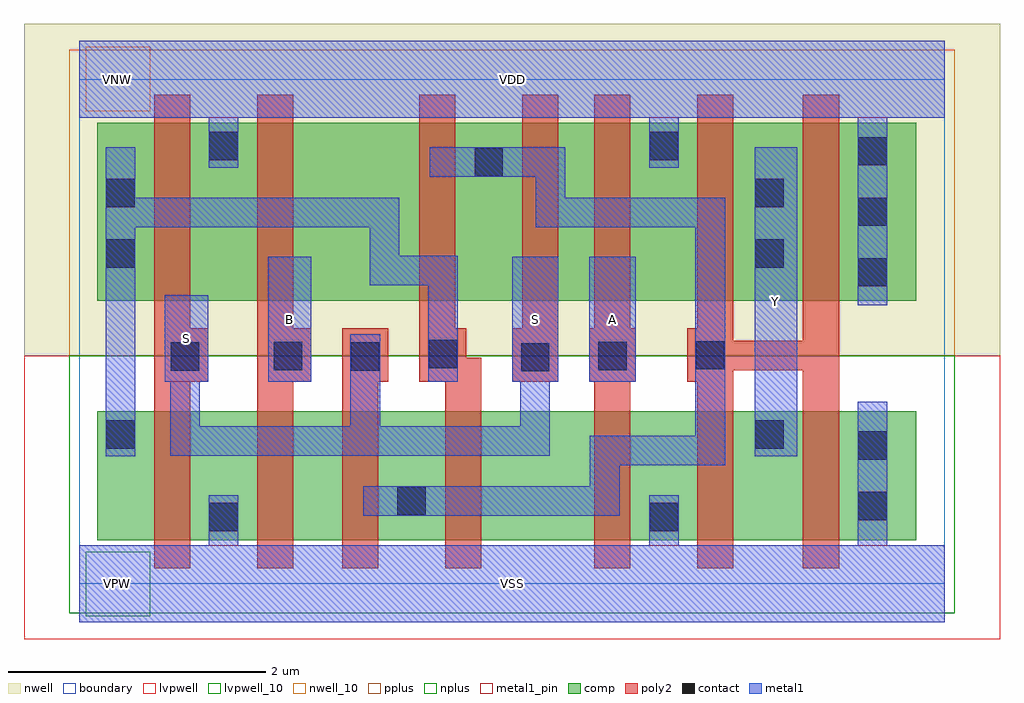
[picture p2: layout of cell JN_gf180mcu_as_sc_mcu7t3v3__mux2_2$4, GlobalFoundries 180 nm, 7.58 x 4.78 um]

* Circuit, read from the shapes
.subckt JN_gf180mcu_as_sc_mcu7t3v3__mux2_2$4 A B S VDD VNW VSS Y
XM1 VSS S n1 VSUBS nfet_03v3 w=1u l=0.28u
XM2 n2 B VSS VSUBS nfet_03v3 w=1u l=0.28u
XM3 n3 S n2 VSUBS nfet_03v3 w=1u l=0.28u
XM4 n4 n1 n3 VSUBS nfet_03v3 w=1u l=0.28u
XM5 VSS A n4 VSUBS nfet_03v3 w=1u l=0.28u
XM6 Y n3 VSS VSUBS nfet_03v3 w=1u l=0.28u m=2
XM7 VDD S n1 VNW pfet_03v3 w=1.38u l=0.28u
XM8 n5 B VDD VNW pfet_03v3 w=1.38u l=0.28u
XM9 n3 n1 n5 VNW pfet_03v3 w=1.38u l=0.28u
XM10 n6 S n3 VNW pfet_03v3 w=1.38u l=0.28u
XM11 VDD A n6 VNW pfet_03v3 w=1.38u l=0.28u
XM12 Y n3 VDD VNW pfet_03v3 w=1.38u l=0.28u m=2
.ends

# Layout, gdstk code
import gdstk
lib = gdstk.Library(unit=1e-6, precision=1e-09)
def R(c, l, rs):  # rectangles x0, y0, x1, y1
    for r in rs: c.add(gdstk.rectangle(r[:2], r[2:], *l))
def A(c, l, x, y, w, h, nx, ny, dx, dy):  # array of equal rectangles
    R(c, l, [(x+i*dx, y+j*dy, x+i*dx+w, y+j*dy+h) for i in range(nx) for j in range(ny)])
boundary = (0, 0)
nwell = (21, 0)
nwell_10 = (21, 10)
comp = (22, 0)
poly2 = (30, 0)
pplus = (31, 0)
nplus = (32, 0)
contact = (33, 0)
metal1 = (34, 0)
metal1_pin = (34, 10)
lvpwell = (204, 0)
lvpwell_10 = (204, 10)

jn_gf180mcu_as_sc_mcu7t3 = lib.new_cell('JN_gf180mcu_as_sc_mcu7t3v3__mux2_2$4')
R(jn_gf180mcu_as_sc_mcu7t3, boundary, [(0,0,6.72,3.92)])
R(jn_gf180mcu_as_sc_mcu7t3, nwell, [(-0.43,1.77,7.15,4.35)])
R(jn_gf180mcu_as_sc_mcu7t3, nwell_10, [(0.05,3.67,0.55,4.17)])
R(jn_gf180mcu_as_sc_mcu7t3, comp, [(0.14,0.34,6.5,1.34), (0.14,2.2,6.5,3.58)])
R(jn_gf180mcu_as_sc_mcu7t3, poly2, [(0.58,0.12,0.86,1.57), (1.38,0.12,1.66,1.57), (2.04,0.12,2.32,1.57), (2.84,0.12,3.12,1.57), (4,0.12,4.28,1.57), (4.8,0.12,5.08,1.57), (5.62,0.12,5.9,1.66), (0.58,1.57,1,1.985), (1.38,1.57,1.8,1.985), (2.04,1.57,2.4,1.985), (2.64,1.57,3.12,1.755), (3.36,1.57,3.72,1.985), (3.96,1.57,4.32,1.985), (4.72,1.57,5.08,1.66), (4.72,1.66,5.9,1.89), (2.64,1.755,3.005,1.985), (4.72,1.89,5.08,1.985), (5.62,1.89,5.9,3.8), (0.58,1.985,0.86,3.8), (1.38,1.985,1.66,3.8), (2.64,1.985,2.92,3.8), (3.44,1.985,3.72,3.8), (4,1.985,4.28,3.8), (4.8,1.985,5.08,3.8)])
R(jn_gf180mcu_as_sc_mcu7t3, pplus, [(-0.08,1.77,6.8,4.15)])
R(jn_gf180mcu_as_sc_mcu7t3, nplus, [(-0.08,-0.23,6.8,1.77)])
A(jn_gf180mcu_as_sc_mcu7t3, contact, 6.05, 2.31, 0.22, 0.22, 1, 3, 0, 0.47)
R(jn_gf180mcu_as_sc_mcu7t3, contact, [(1.01,0.41,1.23,0.63), (4.43,0.41,4.65,0.63), (6.05,0.495,6.27,0.715), (2.47,0.535,2.69,0.755), (6.05,0.965,6.27,1.185), (0.21,1.05,0.43,1.27), (5.25,1.05,5.47,1.27), (3.43,1.65,3.65,1.87), (0.71,1.655,0.93,1.875), (2.11,1.655,2.33,1.875), (1.51,1.66,1.73,1.88), (4.03,1.66,4.25,1.88), (4.79,1.665,5.01,1.885), (2.715,1.675,2.935,1.895), (0.21,2.455,0.43,2.675), (5.25,2.455,5.47,2.675), (0.21,2.925,0.43,3.145), (5.25,2.925,5.47,3.145), (3.07,3.165,3.29,3.385), (1.01,3.29,1.23,3.51), (4.43,3.29,4.65,3.51)])
R(jn_gf180mcu_as_sc_mcu7t3, metal1, [(0,-0.3,6.72,0.3), (1.005,0.3,1.235,0.69), (4.425,0.3,4.655,0.69), (6.045,0.3,6.275,1.415), (2.205,0.53,4.195,0.76), (3.965,0.76,4.195,0.92), (3.965,0.92,5.015,1.15), (0.205,0.99,0.435,2.77), (5.245,0.99,5.575,3.39), (0.705,0.995,3.655,1.225), (4.785,1.15,5.015,2.77), (0.705,1.225,0.935,1.57), (2.105,1.225,2.335,1.94), (3.425,1.225,3.655,1.57), (0.665,1.57,1,2.24), (1.465,1.57,1.8,2.54), (2.71,1.57,2.94,2.32), (3.36,1.57,3.72,2.54), (3.96,1.57,4.32,2.54), (6.045,2.165,6.275,3.62), (2.255,2.32,2.94,2.55), (2.255,2.55,2.485,2.77), (0.205,2.77,2.485,3), (3.545,2.77,5.015,3), (0.205,3,0.435,3.39), (3.545,3,3.775,3.16), (2.72,3.16,3.775,3.39), (1.005,3.23,1.235,3.62), (4.425,3.23,4.655,3.62), (0,3.62,6.72,4.22)])
R(jn_gf180mcu_as_sc_mcu7t3, metal1_pin, [(0,-0.3,6.72,0.3), (5.245,0.99,5.575,3.39), (0.665,1.57,1,2.24), (1.465,1.57,1.8,2.54), (3.36,1.57,3.72,2.54), (3.96,1.57,4.32,2.54), (0,3.62,6.72,4.22)])
R(jn_gf180mcu_as_sc_mcu7t3, lvpwell, [(-0.43,-0.43,7.15,1.77)])
R(jn_gf180mcu_as_sc_mcu7t3, lvpwell_10, [(0.05,-0.25,0.55,0.25)])
jn_gf180mcu_as_sc_mcu7t3.add(gdstk.Label('A', (4.14,2.055), layer=34, texttype=10))
jn_gf180mcu_as_sc_mcu7t3.add(gdstk.Label('Y', (5.41,2.19), layer=34, texttype=10))
jn_gf180mcu_as_sc_mcu7t3.add(gdstk.Label('B', (1.632,2.055), layer=34, texttype=10))
jn_gf180mcu_as_sc_mcu7t3.add(gdstk.Label('S', (0.832,1.905), layer=34, texttype=10))
jn_gf180mcu_as_sc_mcu7t3.add(gdstk.Label('S', (3.54,2.055), layer=34, texttype=10))
jn_gf180mcu_as_sc_mcu7t3.add(gdstk.Label('VSS', (3.36,0), layer=34, texttype=10))
jn_gf180mcu_as_sc_mcu7t3.add(gdstk.Label('VDD', (3.36,3.92), layer=34, texttype=10))
jn_gf180mcu_as_sc_mcu7t3.add(gdstk.Label('VNW', (0.3,3.92), layer=21, texttype=10))
jn_gf180mcu_as_sc_mcu7t3.add(gdstk.Label('VPW', (0.3,0), layer=204, texttype=10))

lib.write_gds('JN_gf180mcu_as_sc_mcu7t3v3__mux2_2_4.gds')
